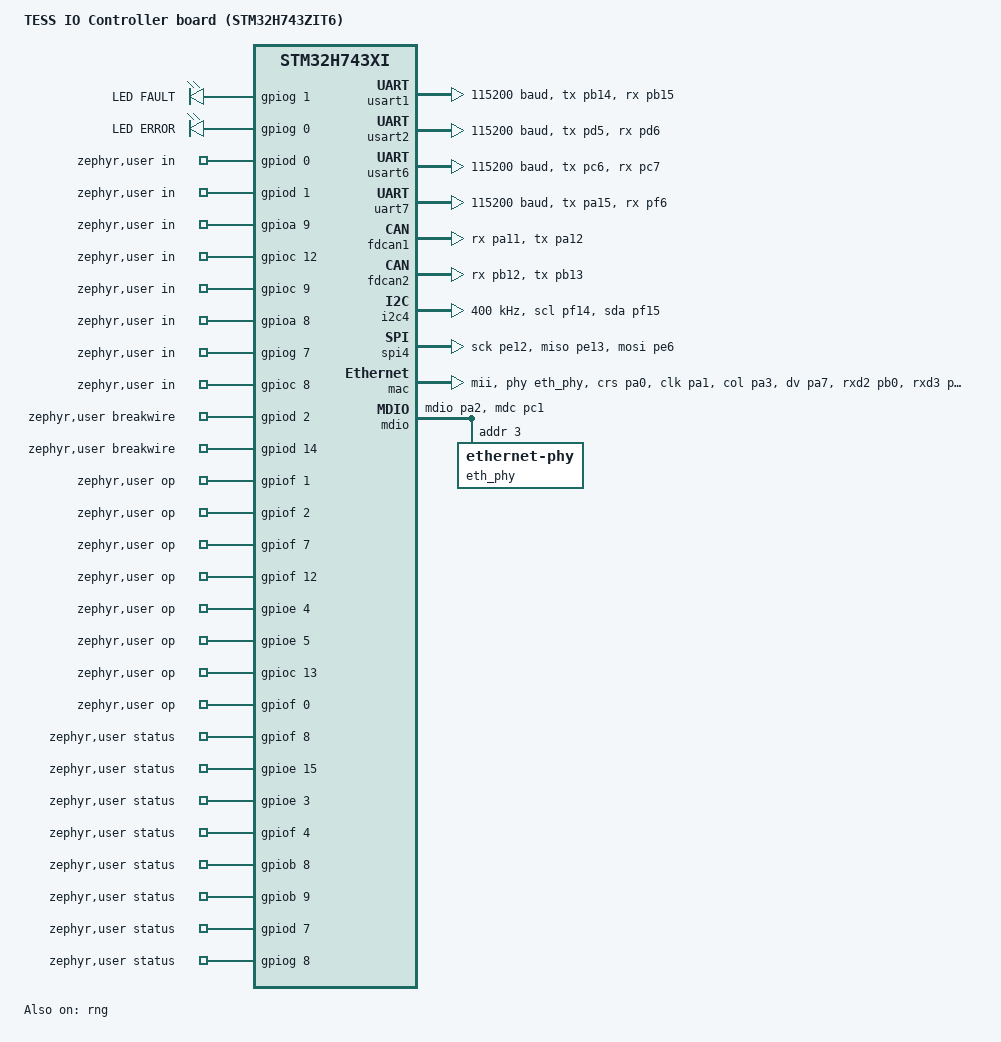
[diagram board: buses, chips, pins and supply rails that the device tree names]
/*
 * TESS IO Controller board (Robot CPU "top board"): STM32H743ZIT6 + DP83848 PHY.
 * Everything below comes from the hardware document (section 3.2 / 3.5.1.a).
 *
 * NOT included yet (not needed for blink / Ethernet): ADC pins, DAC, PWM timers,
 * QSPI flash W25Q256 (bank 2) and the DS18B20 1-wire on UART4 (PC10).
 */

/dts-v1/;
#include <st/h7/stm32h743Xi.dtsi>
#include <st/h7/stm32h743zitx-pinctrl.dtsi>
#include <zephyr/dt-bindings/gpio/gpio.h>

/ {
	model = "TESS IO Controller board (STM32H743ZIT6)";
	compatible = "tess,io-board";

	chosen {
		/* Console: change to the UART you wire to your USB-serial adapter */
		zephyr,sram = &sram0;
		zephyr,flash = &flash0;
		zephyr,dtcm = &dtcm;
	};

	leds {
		compatible = "gpio-leds";
		led_fault: led_fault {
			gpios = <&gpiog 1 GPIO_ACTIVE_HIGH>;
			label = "LED FAULT";
		};
		led_error: led_error {
			gpios = <&gpiog 0 GPIO_ACTIVE_HIGH>;
			label = "LED ERROR";
		};
	};

	aliases {
		led0 = &led_fault;
		led1 = &led_error;
	};

	/*
	 * Named GPIO groups from the document. In C use for example:
	 *   GPIO_DT_SPEC_GET_BY_IDX(DT_PATH(zephyr_user), op_gpios, 0)   -> OP1
	 * Index 0 = number 1 of the name (IN1, OP1, STATUS12 ...).
	 */
	zephyr,user {
		/* IN1..IN20  (24 V sensor / switch inputs) */
		in-gpios = <&gpiod 0 GPIO_ACTIVE_HIGH>,
		<&gpiod 1 GPIO_ACTIVE_HIGH>,
		<&gpioa 9 GPIO_ACTIVE_HIGH>,
		<&gpioc 12 GPIO_ACTIVE_HIGH>,
		<&gpioc 9 GPIO_ACTIVE_HIGH>,
		<&gpioa 8 GPIO_ACTIVE_HIGH>,
		<&gpiog 7 GPIO_ACTIVE_HIGH>,
		<&gpioc 8 GPIO_ACTIVE_HIGH>,
		<&gpiog 5 GPIO_ACTIVE_HIGH>,
		<&gpiog 6 GPIO_ACTIVE_HIGH>,
		<&gpiog 3 GPIO_ACTIVE_HIGH>,
		<&gpiog 4 GPIO_ACTIVE_HIGH>,
		<&gpiod 15 GPIO_ACTIVE_HIGH>,
		<&gpiog 2 GPIO_ACTIVE_HIGH>,
		<&gpiod 12 GPIO_ACTIVE_HIGH>,
		<&gpiod 13 GPIO_ACTIVE_HIGH>,
		<&gpiod 10 GPIO_ACTIVE_HIGH>,
		<&gpiod 11 GPIO_ACTIVE_HIGH>,
		<&gpiod 8 GPIO_ACTIVE_HIGH>,
		<&gpiod 9 GPIO_ACTIVE_HIGH>;

		/* BREAKWIRE1, BREAKWIRE2 */
		breakwire-gpios = <&gpiod 2 GPIO_ACTIVE_HIGH>,
		<&gpiod 14 GPIO_ACTIVE_HIGH>;

		/* OP1..OP18 (outputs: contactors, brakes, STO, ...) */
		op-gpios = <&gpiof 1 GPIO_ACTIVE_HIGH>,
		<&gpiof 2 GPIO_ACTIVE_HIGH>,
		<&gpiof 7 GPIO_ACTIVE_HIGH>,
		<&gpiof 12 GPIO_ACTIVE_HIGH>,
		<&gpioe 4 GPIO_ACTIVE_HIGH>,
		<&gpioe 5 GPIO_ACTIVE_HIGH>,
		<&gpioc 13 GPIO_ACTIVE_HIGH>,
		<&gpiof 0 GPIO_ACTIVE_HIGH>,
		<&gpiob 4 GPIO_ACTIVE_HIGH>,
		<&gpiob 5 GPIO_ACTIVE_HIGH>,
		<&gpioe 0 GPIO_ACTIVE_HIGH>,
		<&gpioe 1 GPIO_ACTIVE_HIGH>,
		<&gpiod 3 GPIO_ACTIVE_HIGH>,
		<&gpiod 4 GPIO_ACTIVE_HIGH>,
		<&gpiog 10 GPIO_ACTIVE_HIGH>,
		<&gpiog 14 GPIO_ACTIVE_HIGH>,
		<&gpiog 15 GPIO_ACTIVE_HIGH>,
		<&gpiob 3 GPIO_ACTIVE_HIGH>;

		/* STATUS12, STATUS34, STATUS56, STATUS78, STATUS910, STATUS1112,
		 * STATUS13, STATUS14, STATUS1516, STATUS1718 (output read-back) */
		status-gpios = <&gpiof 8 GPIO_ACTIVE_HIGH>,
		<&gpioe 15 GPIO_ACTIVE_HIGH>,
		<&gpioe 3 GPIO_ACTIVE_HIGH>,
		<&gpiof 4 GPIO_ACTIVE_HIGH>,
		<&gpiob 8 GPIO_ACTIVE_HIGH>,
		<&gpiob 9 GPIO_ACTIVE_HIGH>,
		<&gpiod 7 GPIO_ACTIVE_HIGH>,
		<&gpiog 8 GPIO_ACTIVE_HIGH>,
		<&gpiog 11 GPIO_ACTIVE_HIGH>,
		<&gpiob 7 GPIO_ACTIVE_HIGH>;
	};
};

/* ================= GPIO ports ================= */
&gpioa { status = "okay"; };
&gpiob { status = "okay"; };
&gpioc { status = "okay"; };
&gpiod { status = "okay"; };
&gpioe { status = "okay"; };
&gpiof { status = "okay"; };
&gpiog { status = "okay"; };

/* ================= Clocks =================
 * Default: internal 64 MHz HSI -> PLL1 -> 480 MHz. Works without any external
 * clock, so the board always boots. PLL1_Q = 120 MHz (CAN FD kernel clock).
 *
 * To use the 25 MHz clock of the board later, replace the three blocks below by:
 *
 *   &clk_hsi { status = "disabled"; };
 *   &clk_hse {
 *           status = "okay";
 *           clock-frequency = <DT_FREQ_M(25)>;
 *           hse-bypass;                // keep ONLY if an oscillator (not a bare crystal) drives OSC_IN
 *   };
 *   &pll { clocks = <&clk_hse>; div-m = <5>; mul-n = <192>; div-p = <2>; div-q = <8>; div-r = <2>; status = "okay"; };
 */
&clk_hsi {
	status = "okay";
};

&pll {
	clocks = <&clk_hsi>;
	div-m = <4>;      /* 64 MHz / 4  = 16 MHz  */
	mul-n = <60>;     /* x 60        = 960 MHz VCO */
	div-p = <2>;      /* 480 MHz */
	div-q = <8>;      /* 120 MHz */
	div-r = <2>;
	status = "okay";
};

&rcc {
	clocks = <&pll>;
	clock-frequency = <DT_FREQ_M(480)>;
	d1cpre = <1>;
	hpre = <2>;       /* AHB 240 MHz */
	d1ppre = <2>;
	d2ppre1 = <2>;
	d2ppre2 = <2>;
	d3ppre = <2>;
};

&pwr {
	power-supply = "ldo";
};

/* ================= Pin configuration (own nodes, alternate functions from the datasheet) ================= */
&pinctrl {
	/* ---- Ethernet MII (all AF11) ---- */
	io_eth_crs_pa0: io_eth_crs_pa0 {
		pinmux = <STM32_PINMUX('A', 0, AF11)>;
		slew-rate = "very-high-speed";
	};
	io_eth_rx_clk_pa1: io_eth_rx_clk_pa1 {
		pinmux = <STM32_PINMUX('A', 1, AF11)>;
		slew-rate = "very-high-speed";
	};
	io_eth_mdio_pa2: io_eth_mdio_pa2 {
		pinmux = <STM32_PINMUX('A', 2, AF11)>;
		slew-rate = "very-high-speed";
	};
	io_eth_col_pa3: io_eth_col_pa3 {
		pinmux = <STM32_PINMUX('A', 3, AF11)>;
		slew-rate = "very-high-speed";
	};
	io_eth_rx_dv_pa7: io_eth_rx_dv_pa7 {
		pinmux = <STM32_PINMUX('A', 7, AF11)>;
		slew-rate = "very-high-speed";
	};
	io_eth_rxd2_pb0: io_eth_rxd2_pb0 {
		pinmux = <STM32_PINMUX('B', 0, AF11)>;
		slew-rate = "very-high-speed";
	};
	io_eth_rxd3_pb1: io_eth_rxd3_pb1 {
		pinmux = <STM32_PINMUX('B', 1, AF11)>;
		slew-rate = "very-high-speed";
	};
	io_eth_rx_er_pb10: io_eth_rx_er_pb10 {
		pinmux = <STM32_PINMUX('B', 10, AF11)>;
		slew-rate = "very-high-speed";
	};
	io_eth_tx_en_pb11: io_eth_tx_en_pb11 {
		pinmux = <STM32_PINMUX('B', 11, AF11)>;
		slew-rate = "very-high-speed";
	};
	io_eth_mdc_pc1: io_eth_mdc_pc1 {
		pinmux = <STM32_PINMUX('C', 1, AF11)>;
		slew-rate = "very-high-speed";
	};
	io_eth_txd2_pc2: io_eth_txd2_pc2 {
		pinmux = <STM32_PINMUX('C', 2, AF11)>;
		slew-rate = "very-high-speed";
	};
	io_eth_tx_clk_pc3: io_eth_tx_clk_pc3 {
		pinmux = <STM32_PINMUX('C', 3, AF11)>;
		slew-rate = "very-high-speed";
	};
	io_eth_rxd0_pc4: io_eth_rxd0_pc4 {
		pinmux = <STM32_PINMUX('C', 4, AF11)>;
		slew-rate = "very-high-speed";
	};
	io_eth_rxd1_pc5: io_eth_rxd1_pc5 {
		pinmux = <STM32_PINMUX('C', 5, AF11)>;
		slew-rate = "very-high-speed";
	};
	io_eth_txd3_pe2: io_eth_txd3_pe2 {
		pinmux = <STM32_PINMUX('E', 2, AF11)>;
		slew-rate = "very-high-speed";
	};
	io_eth_txd1_pg12: io_eth_txd1_pg12 {
		pinmux = <STM32_PINMUX('G', 12, AF11)>;
		slew-rate = "very-high-speed";
	};
	io_eth_txd0_pg13: io_eth_txd0_pg13 {
		pinmux = <STM32_PINMUX('G', 13, AF11)>;
		slew-rate = "very-high-speed";
	};

	/* ---- UARTs (RS485 ports, via TD301D485H-A transceivers) ---- */
	io_usart1_tx_pb14: io_usart1_tx_pb14 {
		pinmux = <STM32_PINMUX('B', 14, AF4)>;
	};
	io_usart1_rx_pb15: io_usart1_rx_pb15 {
		pinmux = <STM32_PINMUX('B', 15, AF4)>;
	};
	io_usart2_tx_pd5: io_usart2_tx_pd5 {
		pinmux = <STM32_PINMUX('D', 5, AF7)>;
	};
	io_usart2_rx_pd6: io_usart2_rx_pd6 {
		pinmux = <STM32_PINMUX('D', 6, AF7)>;
	};
	io_usart6_tx_pc6: io_usart6_tx_pc6 {
		pinmux = <STM32_PINMUX('C', 6, AF7)>;
	};
	io_usart6_rx_pc7: io_usart6_rx_pc7 {
		pinmux = <STM32_PINMUX('C', 7, AF7)>;
	};
	io_uart7_tx_pa15: io_uart7_tx_pa15 {
		pinmux = <STM32_PINMUX('A', 15, AF11)>;
	};
	io_uart7_rx_pf6: io_uart7_rx_pf6 {
		pinmux = <STM32_PINMUX('F', 6, AF7)>;
	};

	/* ---- CAN FD ---- */
	io_fdcan1_rx_pa11: io_fdcan1_rx_pa11 {
		pinmux = <STM32_PINMUX('A', 11, AF9)>;
	};
	io_fdcan1_tx_pa12: io_fdcan1_tx_pa12 {
		pinmux = <STM32_PINMUX('A', 12, AF9)>;
	};
	io_fdcan2_rx_pb12: io_fdcan2_rx_pb12 {
		pinmux = <STM32_PINMUX('B', 12, AF9)>;
	};
	io_fdcan2_tx_pb13: io_fdcan2_tx_pb13 {
		pinmux = <STM32_PINMUX('B', 13, AF9)>;
	};

	/* ---- I2C4 (IMU), external 4.7k pull-ups ---- */
	io_i2c4_scl_pf14: io_i2c4_scl_pf14 {
		pinmux = <STM32_PINMUX('F', 14, AF4)>;
		drive-open-drain;
	};
	io_i2c4_sda_pf15: io_i2c4_sda_pf15 {
		pinmux = <STM32_PINMUX('F', 15, AF4)>;
		drive-open-drain;
	};

	/* ---- SPI4 (IO expander) ---- */
	io_spi4_sck_pe12: io_spi4_sck_pe12 {
		pinmux = <STM32_PINMUX('E', 12, AF5)>;
		slew-rate = "very-high-speed";
	};
	io_spi4_miso_pe13: io_spi4_miso_pe13 {
		pinmux = <STM32_PINMUX('E', 13, AF5)>;
		slew-rate = "very-high-speed";
	};
	io_spi4_mosi_pe6: io_spi4_mosi_pe6 {
		pinmux = <STM32_PINMUX('E', 6, AF5)>;
		slew-rate = "very-high-speed";
	};
};

/* ================= UARTs ================= */
&usart1 {    /* RS485-2, also the default console */
	pinctrl-0 = <&io_usart1_tx_pb14 &io_usart1_rx_pb15>;
	pinctrl-names = "default";
	current-speed = <115200>;
	status = "okay";
};

&usart2 {    /* RS485-3 */
	pinctrl-0 = <&io_usart2_tx_pd5 &io_usart2_rx_pd6>;
	pinctrl-names = "default";
	current-speed = <115200>;
	status = "okay";
};

&usart6 {    /* RS485-1 */
	pinctrl-0 = <&io_usart6_tx_pc6 &io_usart6_rx_pc7>;
	pinctrl-names = "default";
	current-speed = <115200>;
	status = "okay";
};

&uart7 {     /* RS485-4 */
	pinctrl-0 = <&io_uart7_tx_pa15 &io_uart7_rx_pf6>;
	pinctrl-names = "default";
	current-speed = <115200>;
	status = "okay";
};

/* ================= CAN FD ================= */
&fdcan1 {
	pinctrl-0 = <&io_fdcan1_rx_pa11 &io_fdcan1_tx_pa12>;
	pinctrl-names = "default";
	clocks = <&rcc STM32_CLOCK(APB1_2, 8)>,
		 <&rcc STM32_SRC_PLL1_Q FDCAN_SEL(1)>;
	status = "okay";
};

&fdcan2 {
	pinctrl-0 = <&io_fdcan2_rx_pb12 &io_fdcan2_tx_pb13>;
	pinctrl-names = "default";
	clocks = <&rcc STM32_CLOCK(APB1_2, 8)>,
		 <&rcc STM32_SRC_PLL1_Q FDCAN_SEL(1)>;
	status = "okay";
};

/* ================= I2C4 (IMU) and SPI4 (IO expander) ================= */
&i2c4 {
	pinctrl-0 = <&io_i2c4_scl_pf14 &io_i2c4_sda_pf15>;
	pinctrl-names = "default";
	clock-frequency = <400000>;
	status = "okay";
};

&spi4 {
	pinctrl-0 = <&io_spi4_sck_pe12 &io_spi4_miso_pe13 &io_spi4_mosi_pe6>;
	pinctrl-names = "default";
	status = "okay";    /* no chip-select listed in the document */
};

/* ================= Ethernet: DP83848 in MII mode (default of the board) ================= */
&mac {
	pinctrl-0 = <&io_eth_crs_pa0 &io_eth_rx_clk_pa1 &io_eth_col_pa3 &io_eth_rx_dv_pa7
		     &io_eth_rxd2_pb0 &io_eth_rxd3_pb1 &io_eth_rx_er_pb10 &io_eth_tx_en_pb11
		     &io_eth_txd2_pc2 &io_eth_tx_clk_pc3 &io_eth_rxd0_pc4 &io_eth_rxd1_pc5
		     &io_eth_txd3_pe2 &io_eth_txd1_pg12 &io_eth_txd0_pg13>;
	pinctrl-names = "default";
	phy-connection-type = "mii";
	phy-handle = <&eth_phy>;
	status = "okay";
};

&mdio {
	pinctrl-0 = <&io_eth_mdio_pa2 &io_eth_mdc_pc1>;
	pinctrl-names = "default";
	status = "okay";

	/* DP83848 PHYAD strap on this board = 3 (confirmed by MDIO scan) */
	eth_phy: ethernet-phy@3 {
		compatible = "ethernet-phy";
		reg = <3>;
	};
};


&clk_hsi48 {
	status = "okay";
};

&rng {
	status = "okay";
};
